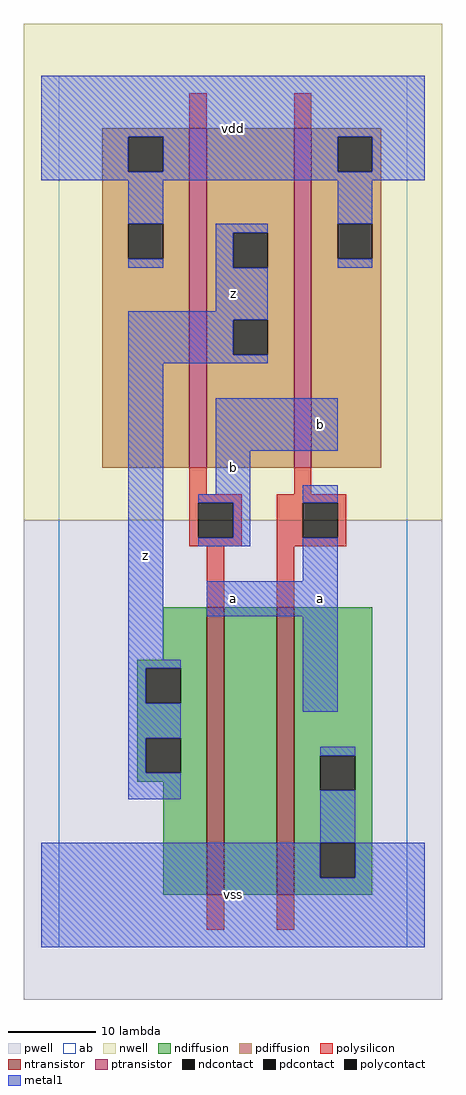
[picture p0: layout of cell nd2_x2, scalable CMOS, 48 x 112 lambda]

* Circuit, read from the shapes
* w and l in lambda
.subckt nd2_x2 a b vdd vss z
M1 n1 b z VSUBS nfet w=33 l=2
M2 vss a n1 VSUBS nfet w=33 l=2
M3 z b vdd n2 pfet w=39 l=2
M4 vdd a z n2 pfet w=39 l=2
.ends

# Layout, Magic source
magic
tech scmos
<< ab >>
rect 0 0 40 100
<< pwell >>
rect -4 -6 44 49
<< nwell >>
rect -4 49 44 106
<< polysilicon >>
rect 15 94 17 98
rect 27 94 29 98
rect 15 52 17 55
rect 27 52 29 55
rect 15 51 21 52
rect 15 47 16 51
rect 20 47 21 51
rect 15 46 21 47
rect 25 51 33 52
rect 25 47 28 51
rect 32 47 33 51
rect 25 46 33 47
rect 17 39 19 46
rect 25 39 27 46
rect 17 2 19 6
rect 25 2 27 6
<< ndiffusion >>
rect 12 33 17 39
rect 9 32 17 33
rect 9 28 10 32
rect 14 28 17 32
rect 9 24 17 28
rect 9 20 10 24
rect 14 20 17 24
rect 9 19 17 20
rect 12 6 17 19
rect 19 6 25 39
rect 27 22 36 39
rect 27 18 30 22
rect 34 18 36 22
rect 27 12 36 18
rect 27 8 30 12
rect 34 8 36 12
rect 27 6 36 8
<< pdiffusion >>
rect 5 93 15 94
rect 5 89 8 93
rect 12 89 15 93
rect 5 83 15 89
rect 5 79 8 83
rect 12 79 15 83
rect 5 55 15 79
rect 17 82 27 94
rect 17 78 20 82
rect 24 78 27 82
rect 17 72 27 78
rect 17 68 20 72
rect 24 68 27 72
rect 17 55 27 68
rect 29 93 37 94
rect 29 89 32 93
rect 36 89 37 93
rect 29 83 37 89
rect 29 79 32 83
rect 36 79 37 83
rect 29 55 37 79
<< metal1 >>
rect -2 93 42 100
rect -2 89 8 93
rect 12 89 32 93
rect 36 89 42 93
rect -2 88 42 89
rect 8 83 12 88
rect 32 83 36 88
rect 8 78 12 79
rect 18 82 24 83
rect 18 78 20 82
rect 32 78 36 79
rect 18 73 24 78
rect 8 72 24 73
rect 8 68 20 72
rect 8 67 24 68
rect 8 33 12 67
rect 18 57 32 63
rect 18 52 22 57
rect 16 51 22 52
rect 20 47 22 51
rect 16 46 22 47
rect 28 51 32 53
rect 28 42 32 47
rect 17 38 32 42
rect 8 32 14 33
rect 8 28 10 32
rect 8 24 14 28
rect 28 27 32 38
rect 8 20 10 24
rect 8 17 14 20
rect 30 22 34 23
rect 30 12 34 18
rect -2 8 30 12
rect 34 8 42 12
rect -2 0 42 8
<< ntransistor >>
rect 17 6 19 39
rect 25 6 27 39
<< ptransistor >>
rect 15 55 17 94
rect 27 55 29 94
<< polycontact >>
rect 16 47 20 51
rect 28 47 32 51
<< ndcontact >>
rect 10 28 14 32
rect 10 20 14 24
rect 30 18 34 22
rect 30 8 34 12
<< pdcontact >>
rect 8 89 12 93
rect 8 79 12 83
rect 20 78 24 82
rect 20 68 24 72
rect 32 89 36 93
rect 32 79 36 83
<< labels >>
rlabel metal1 10 45 10 45 6 z
rlabel metal1 10 45 10 45 6 z
rlabel metal1 20 6 20 6 6 vss
rlabel metal1 20 6 20 6 6 vss
rlabel metal1 20 40 20 40 6 a
rlabel metal1 20 40 20 40 6 a
rlabel metal1 20 55 20 55 6 b
rlabel metal1 20 55 20 55 6 b
rlabel metal1 20 75 20 75 6 z
rlabel metal1 20 75 20 75 6 z
rlabel metal1 20 94 20 94 6 vdd
rlabel metal1 20 94 20 94 6 vdd
rlabel metal1 30 40 30 40 6 a
rlabel metal1 30 40 30 40 6 a
rlabel metal1 30 60 30 60 6 b
rlabel metal1 30 60 30 60 6 b
<< end >>
